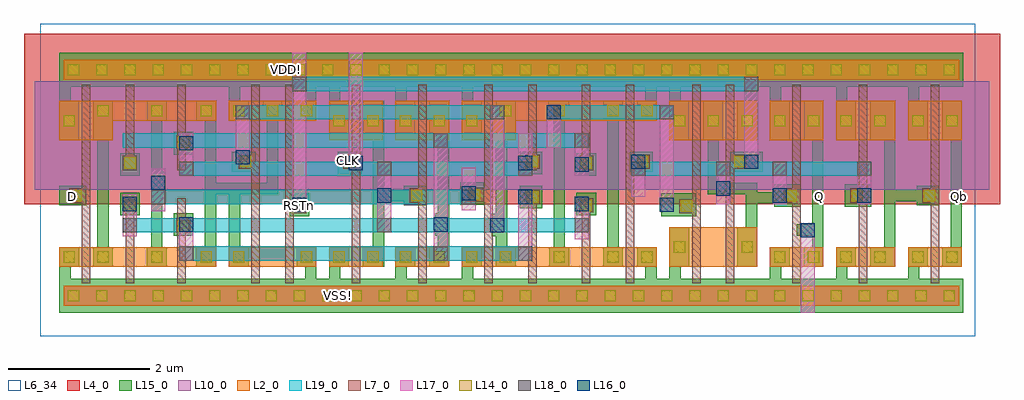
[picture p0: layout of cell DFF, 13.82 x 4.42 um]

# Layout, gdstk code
import gdstk
lib = gdstk.Library(unit=1e-6, precision=1e-09)
def R(c, l, rs):  # rectangles x0, y0, x1, y1
    for r in rs: c.add(gdstk.rectangle(r[:2], r[2:], *l))
def A(c, l, x, y, w, h, nx, ny, dx, dy):  # array of equal rectangles
    R(c, l, [(x+i*dx, y+j*dy, x+i*dx+w, y+j*dy+h) for i in range(nx) for j in range(ny)])
L2_0 = (2, 0)
L4_0 = (4, 0)
L6_34 = (6, 34)
L7_0 = (7, 0)
L10_0 = (10, 0)
L14_0 = (14, 0)
L15_0 = (15, 0)
L16_0 = (16, 0)
L17_0 = (17, 0)
L18_0 = (18, 0)
L19_0 = (19, 0)

dff = lib.new_cell('DFF')
A(dff, L2_0, 3.82, 2.2, 0.76, 0.56, 3, 1, 0.94, 0)
R(dff, L2_0, [(0.06,-0.14,12.74,0.14), (0,0.41,2.22,0.69), (2.4,0.41,2.68,0.69), (2.4,0.41,3.64,0.69), (3.36,0.41,3.64,0.69), (3.82,0.41,4.58,0.69), (4.76,0.41,5.52,0.69), (5.7,0.41,8.46,0.69), (8.64,0.41,9.88,0.97), (10.06,0.41,10.82,0.69), (11,0.41,11.84,0.69), (12.02,0.41,12.78,0.69), (2.46,0.47,3.58,0.63), (0,2.2,0.76,2.76), (8.64,2.2,9.88,2.76), (10.06,2.2,10.82,2.76), (10.06,2.2,10.82,2.76), (11,2.2,11.84,2.76), (12.02,2.2,12.78,2.76), (0.76,2.48,2.22,2.76), (2.4,2.48,3.64,2.76), (6.46,2.48,8.46,2.76), (0.06,3.06,12.74,3.34)])
R(dff, L4_0, [(-0.5,1.3,13.32,3.71)])
R(dff, L6_34, [(-0.27,-0.57,12.97,3.85)])
R(dff, L7_0, [(1.66,0.89,1.86,1.09), (3.3,1.17,3.5,1.37), (8.78,1.17,8.98,1.37), (0.9,1.18,1.1,1.38), (7.36,1.18,7.56,1.38), (6.6,1.3,6.8,1.5), (0.14,1.32,0.38,1.52), (4.96,1.32,5.08,1.52), (10.26,1.32,10.38,1.52), (11.2,1.32,11.32,1.52), (12.22,1.32,12.41,1.52), (5.78,1.33,6.08,1.53), (0.9,1.78,1.1,1.98), (7.36,1.78,7.56,1.98), (2.54,1.8,2.74,2), (4.02,1.8,4.14,2), (6.6,1.8,6.8,2), (8.08,1.8,8.36,2), (9.54,1.8,9.74,2), (1.66,2.08,1.86,2.28)])
R(dff, L10_0, [(0.06,-0.14,12.74,0.14), (-0.35,1.5,13.17,3.04)])
A(dff, L14_0, 0.12, -0.08, 0.16, 0.16, 32, 2, 0.4, 3.2)
A(dff, L14_0, 6.24, 0.47, 0.16, 0.16, 3, 2, 0.76, 2.07)
A(dff, L14_0, 8.7, 2.4, 0.16, 0.16, 3, 1, 0.48, 0)
A(dff, L14_0, 2.46, 2.54, 0.16, 0.16, 3, 1, 0.48, 0)
R(dff, L14_0, [(0.06,0.47,0.22,0.63), (0.54,0.47,0.7,0.63), (1.3,0.47,1.46,0.63), (2,0.47,2.16,0.63), (2.46,0.47,2.62,0.63), (3.42,0.47,3.58,0.63), (3.88,0.47,4.04,0.63), (4.36,0.47,4.52,0.63), (4.82,0.47,4.98,0.63), (5.3,0.47,5.46,0.63), (5.76,0.47,5.92,0.63), (8.24,0.47,8.4,0.63), (10.12,0.47,10.28,0.63), (10.6,0.47,10.76,0.63), (11.06,0.47,11.22,0.63), (11.54,0.47,11.7,0.63), (12.08,0.47,12.24,0.63), (12.56,0.47,12.72,0.63), (8.7,0.61,8.86,0.77), (9.66,0.61,9.82,0.77), (1.68,0.91,1.84,1.07), (3.32,1.19,3.48,1.35), (8.8,1.19,8.96,1.35), (0.92,1.2,1.08,1.36), (7.38,1.2,7.54,1.36), (6.62,1.32,6.78,1.48), (0.16,1.34,0.32,1.5), (4.98,1.34,5.14,1.5), (10.28,1.34,10.44,1.5), (11.22,1.34,11.38,1.5), (12.24,1.34,12.4,1.5), (5.8,1.35,5.96,1.51), (0.92,1.8,1.08,1.96), (7.38,1.8,7.54,1.96), (2.56,1.82,2.72,1.98), (4.04,1.82,4.2,1.98), (6.62,1.82,6.78,1.98), (8.18,1.82,8.34,1.98), (9.56,1.82,9.72,1.98), (1.68,2.1,1.84,2.26), (0.06,2.4,0.22,2.56), (3.88,2.4,4.04,2.56), (4.36,2.4,4.52,2.56), (4.82,2.4,4.98,2.56), (5.3,2.4,5.46,2.56), (5.76,2.4,5.92,2.56), (10.12,2.4,10.28,2.56), (10.6,2.4,10.76,2.56), (11.06,2.4,11.22,2.56), (11.54,2.4,11.7,2.56), (12.08,2.4,12.24,2.56), (12.56,2.4,12.72,2.56), (0.54,2.54,0.7,2.7), (1.3,2.54,1.46,2.7), (2,2.54,2.16,2.7), (8.24,2.54,8.4,2.7)])
A(dff, L15_0, 6.18, 0.41, 0.28, 0.28, 3, 1, 0.76, 0)
A(dff, L15_0, 8.64, 2.2, 0.28, 0.56, 3, 1, 0.48, 0)
A(dff, L15_0, 2.4, 2.48, 0.28, 0.28, 3, 1, 0.48, 0)
R(dff, L15_0, [(0,-0.24,12.8,0.24), (0,0.41,0.28,0.69), (0.48,0.41,0.76,0.69), (1.24,0.41,1.52,0.69), (1.94,0.41,2.22,0.69), (2.4,0.41,2.68,0.69), (3.36,0.41,3.64,0.69), (3.82,0.41,4.1,0.69), (4.3,0.41,4.58,0.69), (4.76,0.41,5.04,0.69), (5.24,0.41,5.52,0.69), (5.7,0.41,5.98,0.69), (8.18,0.41,8.46,0.69), (8.64,0.41,8.92,0.97), (9.6,0.41,9.88,0.97), (10.06,0.41,10.34,0.69), (10.54,0.41,10.82,0.69), (11,0.41,11.28,0.69), (11.48,0.41,11.76,0.69), (12.02,0.41,12.3,0.69), (12.5,0.41,12.78,0.69), (6.18,0.69,6.22,0.84), (6.12,0.84,6.22,1.16), (1.62,0.85,1.9,1.17), (5.32,0.85,5.37,1.17), (10.44,0.85,10.82,1.01), (3.26,1.13,3.54,1.45), (8.52,1.13,9.02,1.45), (0.86,1.14,1.14,1.46), (7.32,1.14,7.6,1.46), (6.52,1.24,6.84,1.56), (10.12,1.26,10.5,1.58), (11.12,1.26,11.5,1.58), (0,1.28,0.38,1.56), (4.88,1.28,5.2,1.56), (12.14,1.28,12.46,1.56), (5.68,1.29,6.02,1.61), (1.46,1.44,1.48,1.76), (0.86,1.7,1.14,2.02), (7.32,1.7,7.6,2.02), (3.94,1.72,4.28,2.04), (6.52,1.72,6.84,2.04), (2.44,1.76,2.78,2.04), (8.08,1.76,8.4,2.04), (9.5,1.76,9.96,2.04), (1.62,2,1.9,2.32), (0,2.2,0.28,2.76), (0.48,2.2,0.76,2.76), (3.82,2.2,4.1,2.76), (4.3,2.2,4.58,2.76), (4.76,2.2,5.04,2.76), (5.24,2.2,5.52,2.76), (5.7,2.2,5.98,2.76), (6.18,2.2,6.46,2.76), (10.06,2.2,10.34,2.76), (10.54,2.2,10.82,2.76), (11,2.2,11.28,2.76), (11.48,2.2,11.76,2.76), (12.02,2.2,12.3,2.76), (12.5,2.2,12.78,2.76), (1.24,2.48,1.52,2.76), (1.94,2.48,2.22,2.76), (6.92,2.48,7.22,2.76), (7.7,2.48,7.98,2.76), (8.18,2.48,8.46,2.76), (0,2.96,12.8,3.44)])
R(dff, L16_0, [(10.5,0.83,10.7,1.03), (6.1,0.9,6.3,1.1), (1.7,0.91,1.9,1.11), (5.3,0.91,5.5,1.11), (3.3,1.19,3.5,1.39), (8.5,1.19,8.7,1.39), (0.9,1.2,1.1,1.4), (7.3,1.2,7.5,1.4), (6.5,1.3,6.7,1.5), (4.5,1.32,4.7,1.52), (10.1,1.32,10.3,1.52), (11.3,1.32,11.5,1.52), (5.7,1.35,5.9,1.55), (9.3,1.42,9.5,1.62), (1.3,1.5,1.5,1.7), (7.3,1.76,7.5,1.96), (4.1,1.78,4.3,1.98), (6.5,1.78,6.7,1.98), (8.1,1.8,8.3,2), (9.7,1.8,9.9,2), (2.5,1.86,2.7,2.06), (1.7,2.06,1.9,2.26), (6.9,2.5,7.1,2.7)])
R(dff, L18_0, [(1.7,0.5,1.9,0.7), (5.3,0.5,5.5,0.7), (6.5,0.5,6.7,0.7), (0.9,0.9,1.1,1.1), (4.5,0.9,4.7,1.1), (7.3,0.9,7.5,1.1), (1.3,1.3,1.5,1.5), (5.7,1.3,5.9,1.5), (1.7,1.7,1.9,1.9), (4.5,1.7,4.7,1.9), (6.5,1.7,6.7,1.9), (8.1,1.7,8.3,1.9), (9.3,1.7,9.5,1.9), (10.1,1.7,10.3,1.9), (11.3,1.7,11.5,1.9), (5.3,2.1,5.5,2.3), (7.3,2.1,7.5,2.3), (2.5,2.5,2.7,2.7), (6.1,2.5,6.3,2.7), (6.9,2.5,7.1,2.7), (8.5,2.5,8.7,2.7), (3.3,2.9,3.5,3.1), (9.7,2.9,9.9,3.1)])
dff.add(gdstk.FlexPath([(12.62,1.4),(12.8,1.4)], 0.16, ends="flush", simple_path=True, layer=15, datatype=0))  # L15_0
dff.add(gdstk.FlexPath([(9.8,1.39),(10.17,1.39)], 0.16, ends="flush", simple_path=True, layer=15, datatype=0))  # L15_0
dff.add(gdstk.FlexPath([(12.7,2.76),(12.7,0.41)], 0.16, ends="flush", simple_path=True, layer=15, datatype=0))  # L15_0
dff.add(gdstk.FlexPath([(11.76,2.76),(11.76,0.41)], 0.16, ends="flush", simple_path=True, layer=15, datatype=0))  # L15_0
dff.add(gdstk.FlexPath([(10.74,2.76),(10.74,0.41)], 0.16, ends="flush", simple_path=True, layer=15, datatype=0))  # L15_0
dff.add(gdstk.FlexPath([(9.26,2.76),(9.26,1.52),(9.8,1.52),(9.8,0.41)], 0.16, ends="flush", simple_path=True, layer=15, datatype=0))  # L15_0
dff.add(gdstk.FlexPath([(4.44,1.42),(5.18,1.42)], 0.16, ends="flush", simple_path=True, layer=15, datatype=0))  # L15_0
dff.add(gdstk.FlexPath([(4.84,2.2),(4.84,3.44)], 0.16, ends="flush", simple_path=True, layer=15, datatype=0))  # L15_0
dff.add(gdstk.FlexPath([(4.84,0.69),(4.84,-0.24)], 0.16, ends="flush", simple_path=True, layer=15, datatype=0))  # L15_0
dff.add(gdstk.FlexPath([(5.44,2.76),(5.44,0.41)], 0.16, ends="flush", simple_path=True, layer=15, datatype=0))  # L15_0
dff.add(gdstk.FlexPath([(4.52,2.76),(4.52,0.41)], 0.16, ends="flush", simple_path=True, layer=15, datatype=0))  # L15_0
dff.add(gdstk.FlexPath([(10.14,0.69),(10.14,-0.24)], 0.16, ends="flush", simple_path=True, layer=15, datatype=0))  # L15_0
dff.add(gdstk.FlexPath([(7.84,2.76),(7.84,0.41)], 0.16, ends="flush", simple_path=True, layer=15, datatype=0))  # L15_0
dff.add(gdstk.FlexPath([(5.78,0.69),(5.78,-0.24)], 0.16, ends="flush", simple_path=True, layer=15, datatype=0))  # L15_0
dff.add(gdstk.FlexPath([(8.38,2.48),(8.38,3.44)], 0.16, ends="flush", simple_path=True, layer=15, datatype=0))  # L15_0
dff.add(gdstk.FlexPath([(8.38,0.69),(8.38,-0.24)], 0.16, ends="flush", simple_path=True, layer=15, datatype=0))  # L15_0
dff.add(gdstk.FlexPath([(3.9,0.69),(3.9,-0.24)], 0.16, ends="flush", simple_path=True, layer=15, datatype=0))  # L15_0
dff.add(gdstk.FlexPath([(5.78,2.2),(5.78,3.44)], 0.16, ends="flush", simple_path=True, layer=15, datatype=0))  # L15_0
dff.add(gdstk.FlexPath([(3.9,2.2),(3.9,3.44)], 0.16, ends="flush", simple_path=True, layer=15, datatype=0))  # L15_0
dff.add(gdstk.FlexPath([(7.08,2.76),(7.08,0.41)], 0.16, ends="flush", simple_path=True, layer=15, datatype=0))  # L15_0
dff.add(gdstk.FlexPath([(6.26,2.76),(6.26,0.41)], 0.16, ends="flush", simple_path=True, layer=15, datatype=0))  # L15_0
dff.add(gdstk.FlexPath([(11.08,0.69),(11.08,-0.24)], 0.16, ends="flush", simple_path=True, layer=15, datatype=0))  # L15_0
dff.add(gdstk.FlexPath([(8.72,0.97),(8.72,-0.24)], 0.16, ends="flush", simple_path=True, layer=15, datatype=0))  # L15_0
dff.add(gdstk.FlexPath([(11.68,1.42),(12.36,1.42)], 0.16, ends="flush", simple_path=True, layer=15, datatype=0))  # L15_0
dff.add(gdstk.FlexPath([(9.8,2.2),(9.8,3.44)], 0.16, ends="flush", simple_path=True, layer=15, datatype=0))  # L15_0
dff.add(gdstk.FlexPath([(8.72,2.2),(8.72,3.44)], 0.16, ends="flush", simple_path=True, layer=15, datatype=0))  # L15_0
dff.add(gdstk.FlexPath([(0.62,2.76),(0.62,0.41)], 0.16, ends="flush", simple_path=True, layer=15, datatype=0))  # L15_0
dff.add(gdstk.FlexPath([(10.14,2.2),(10.14,3.44)], 0.16, ends="flush", simple_path=True, layer=15, datatype=0))  # L15_0
dff.add(gdstk.FlexPath([(11.08,2.2),(11.08,3.44)], 0.16, ends="flush", simple_path=True, layer=15, datatype=0))  # L15_0
dff.add(gdstk.FlexPath([(12.1,0.69),(12.1,-0.24)], 0.16, ends="flush", simple_path=True, layer=15, datatype=0))  # L15_0
dff.add(gdstk.FlexPath([(12.1,2.2),(12.1,3.44)], 0.16, ends="flush", simple_path=True, layer=15, datatype=0))  # L15_0
dff.add(gdstk.FlexPath([(0.08,0.69),(0.08,-0.24)], 0.16, ends="flush", simple_path=True, layer=15, datatype=0))  # L15_0
dff.add(gdstk.FlexPath([(2.14,2.76),(2.14,0.41)], 0.16, ends="flush", simple_path=True, layer=15, datatype=0))  # L15_0
dff.add(gdstk.FlexPath([(2.48,2.48),(2.48,3.44)], 0.16, ends="flush", simple_path=True, layer=15, datatype=0))  # L15_0
dff.add(gdstk.FlexPath([(3.56,2.48),(3.56,3.44)], 0.16, ends="flush", simple_path=True, layer=15, datatype=0))  # L15_0
dff.add(gdstk.FlexPath([(3.02,2.76),(3.02,1.52),(2.48,1.52),(2.48,0.41)], 0.16, ends="flush", simple_path=True, layer=15, datatype=0))  # L15_0
dff.add(gdstk.FlexPath([(3.1,1.52),(2.06,1.52)], 0.16, ends="flush", simple_path=True, layer=15, datatype=0))  # L15_0
dff.add(gdstk.FlexPath([(3.56,0.69),(3.56,-0.24)], 0.16, ends="flush", simple_path=True, layer=15, datatype=0))  # L15_0
dff.add(gdstk.FlexPath([(0.08,3.44),(0.08,2.21)], 0.16, ends="flush", simple_path=True, layer=15, datatype=0))  # L15_0
dff.add(gdstk.FlexPath([(1.38,2.76),(1.38,0.41)], 0.16, ends="flush", simple_path=True, layer=15, datatype=0))  # L15_0
dff.add(gdstk.FlexPath([(12.4,2.99),(12.4,0.18)], 0.12, ends="flush", simple_path=True, layer=7, datatype=0))  # L7_0
dff.add(gdstk.FlexPath([(9.5,2.99),(9.5,0.18)], 0.12, ends="flush", simple_path=True, layer=7, datatype=0))  # L7_0
dff.add(gdstk.FlexPath([(9.02,2.99),(9.02,0.18)], 0.12, ends="flush", simple_path=True, layer=7, datatype=0))  # L7_0
dff.add(gdstk.FlexPath([(10.44,2.99),(10.44,0.18)], 0.12, ends="flush", simple_path=True, layer=7, datatype=0))  # L7_0
dff.add(gdstk.FlexPath([(11.38,2.99),(11.38,0.18)], 0.12, ends="flush", simple_path=True, layer=7, datatype=0))  # L7_0
dff.add(gdstk.FlexPath([(5.14,2.99),(5.14,0.18)], 0.12, ends="flush", simple_path=True, layer=7, datatype=0))  # L7_0
dff.add(gdstk.FlexPath([(4.2,2.99),(4.2,0.18)], 0.12, ends="flush", simple_path=True, layer=7, datatype=0))  # L7_0
dff.add(gdstk.FlexPath([(0.38,2.99),(0.38,0.18)], 0.12, ends="flush", simple_path=True, layer=7, datatype=0))  # L7_0
dff.add(gdstk.FlexPath([(8.08,2.99),(8.08,0.18)], 0.12, ends="flush", simple_path=True, layer=7, datatype=0))  # L7_0
dff.add(gdstk.FlexPath([(7.46,0.18),(7.46,1.38)], 0.12, ends="flush", simple_path=True, layer=7, datatype=0))  # L7_0
dff.add(gdstk.FlexPath([(7.46,1.78),(7.46,2.99)], 0.12, ends="flush", simple_path=True, layer=7, datatype=0))  # L7_0
dff.add(gdstk.FlexPath([(6.7,0.18),(6.7,1.38)], 0.12, ends="flush", simple_path=True, layer=7, datatype=0))  # L7_0
dff.add(gdstk.FlexPath([(6.7,1.78),(6.7,2.99)], 0.12, ends="flush", simple_path=True, layer=7, datatype=0))  # L7_0
dff.add(gdstk.FlexPath([(6.08,2.99),(6.08,0.18)], 0.12, ends="flush", simple_path=True, layer=7, datatype=0))  # L7_0
dff.add(gdstk.FlexPath([(0.38,2.99),(0.38,0.18)], 0.12, ends="flush", simple_path=True, layer=7, datatype=0))  # L7_0
dff.add(gdstk.FlexPath([(1,0.18),(1,1.38)], 0.12, ends="flush", simple_path=True, layer=7, datatype=0))  # L7_0
dff.add(gdstk.FlexPath([(3.26,2.99),(3.26,0.18)], 0.12, ends="flush", simple_path=True, layer=7, datatype=0))  # L7_0
dff.add(gdstk.FlexPath([(1.73,0.18),(1.73,1.38)], 0.12, ends="flush", simple_path=True, layer=7, datatype=0))  # L7_0
dff.add(gdstk.FlexPath([(1,1.78),(1,2.99)], 0.12, ends="flush", simple_path=True, layer=7, datatype=0))  # L7_0
dff.add(gdstk.FlexPath([(2.78,2.99),(2.78,0.18)], 0.12, ends="flush", simple_path=True, layer=7, datatype=0))  # L7_0
dff.add(gdstk.FlexPath([(1.73,1.78),(1.73,2.99)], 0.12, ends="flush", simple_path=True, layer=7, datatype=0))  # L7_0
dff.add(gdstk.FlexPath([(10.6,1.03),(10.6,-0.24)], 0.2, ends="flush", simple_path=True, layer=17, datatype=0))  # L17_0
dff.add(gdstk.FlexPath([(4.2,1.78),(4.2,3.44)], 0.2, ends="flush", simple_path=True, layer=17, datatype=0))  # L17_0
dff.add(gdstk.FlexPath([(9.8,3.1),(9.8,1.8)], 0.2, ends="flush", simple_path=True, layer=17, datatype=0))  # L17_0
dff.add(gdstk.FlexPath([(3.4,1.19),(3.4,3.44)], 0.2, ends="flush", simple_path=True, layer=17, datatype=0))  # L17_0
dff.add(gdstk.FlexPath([(10.2,1.9),(10.2,1.3)], 0.2, ends="flush", simple_path=True, layer=17, datatype=0))  # L17_0
dff.add(gdstk.FlexPath([(11.4,1.9),(11.4,1.3)], 0.2, ends="flush", simple_path=True, layer=17, datatype=0))  # L17_0
dff.add(gdstk.FlexPath([(8.2,1.4),(8.2,2)], 0.2, ends="flush", simple_path=True, layer=17, datatype=0))  # L17_0
dff.add(gdstk.FlexPath([(9.4,1.3),(9.4,1.9)], 0.2, ends="flush", simple_path=True, layer=17, datatype=0))  # L17_0
dff.add(gdstk.FlexPath([(8.6,2.7),(8.6,1.19)], 0.2, ends="flush", simple_path=True, layer=17, datatype=0))  # L17_0
dff.add(gdstk.FlexPath([(7,2.7),(7,2.1)], 0.2, ends="flush", simple_path=True, layer=17, datatype=0))  # L17_0
dff.add(gdstk.FlexPath([(6.2,0.9),(6.2,2.7)], 0.2, ends="flush", simple_path=True, layer=17, datatype=0))  # L17_0
dff.add(gdstk.FlexPath([(2.6,1.86),(2.6,2.7)], 0.2, ends="flush", simple_path=True, layer=17, datatype=0))  # L17_0
dff.add(gdstk.FlexPath([(7.4,1.7),(7.4,2.3)], 0.2, ends="flush", simple_path=True, layer=17, datatype=0))  # L17_0
dff.add(gdstk.FlexPath([(6.6,1.7),(6.6,2.3)], 0.2, ends="flush", simple_path=True, layer=17, datatype=0))  # L17_0
dff.add(gdstk.FlexPath([(7.4,1.4),(7.4,0.8)], 0.2, ends="flush", simple_path=True, layer=17, datatype=0))  # L17_0
dff.add(gdstk.FlexPath([(6.6,1.5),(6.6,0.5)], 0.2, ends="flush", simple_path=True, layer=17, datatype=0))  # L17_0
dff.add(gdstk.FlexPath([(5.8,1.21),(5.8,1.81)], 0.2, ends="flush", simple_path=True, layer=17, datatype=0))  # L17_0
dff.add(gdstk.FlexPath([(1.4,1.2),(1.4,1.8)], 0.2, ends="flush", simple_path=True, layer=17, datatype=0))  # L17_0
dff.add(gdstk.FlexPath([(1,0.84),(1,1.44)], 0.2, ends="flush", simple_path=True, layer=17, datatype=0))  # L17_0
dff.add(gdstk.FlexPath([(1.8,0.5),(1.8,1.11)], 0.2, ends="flush", simple_path=True, layer=17, datatype=0))  # L17_0
dff.add(gdstk.FlexPath([(5.4,2.3),(5.4,0.5)], 0.2, ends="flush", simple_path=True, layer=17, datatype=0))  # L17_0
dff.add(gdstk.FlexPath([(1.8,1.7),(1.8,2.3)], 0.2, ends="flush", simple_path=True, layer=17, datatype=0))  # L17_0
dff.add(gdstk.FlexPath([(4.6,1.9),(4.6,0.9)], 0.2, ends="flush", simple_path=True, layer=17, datatype=0))  # L17_0
dff.add(gdstk.FlexPath([(3.3,3),(9.9,3)], 0.2, ends="flush", simple_path=True, layer=19, datatype=0))  # L19_0
dff.add(gdstk.FlexPath([(8.1,1.8),(11.5,1.8)], 0.2, ends="flush", simple_path=True, layer=19, datatype=0))  # L19_0
dff.add(gdstk.FlexPath([(6.9,2.6),(8.7,2.6)], 0.2, ends="flush", simple_path=True, layer=19, datatype=0))  # L19_0
dff.add(gdstk.FlexPath([(2.5,2.6),(6.3,2.6)], 0.2, ends="flush", simple_path=True, layer=19, datatype=0))  # L19_0
dff.add(gdstk.FlexPath([(1.3,1.4),(5.9,1.4)], 0.2, ends="flush", simple_path=True, layer=19, datatype=0))  # L19_0
dff.add(gdstk.FlexPath([(7.5,2.2),(0.9,2.2)], 0.2, ends="flush", simple_path=True, layer=19, datatype=0))  # L19_0
dff.add(gdstk.FlexPath([(6.7,0.6),(1.7,0.6)], 0.2, ends="flush", simple_path=True, layer=19, datatype=0))  # L19_0
dff.add(gdstk.FlexPath([(1.7,1.8),(6.7,1.8)], 0.2, ends="flush", simple_path=True, layer=19, datatype=0))  # L19_0
dff.add(gdstk.FlexPath([(7.5,1),(0.9,1)], 0.2, ends="flush", simple_path=True, layer=19, datatype=0))  # L19_0
dff.add(gdstk.Label('Qb', (12.74,1.4), layer=15, texttype=20))
dff.add(gdstk.Label('RSTn', (3.4,1.28), layer=15, texttype=20))
dff.add(gdstk.Label('VSS!', (3.95,0), layer=15, texttype=20))
dff.add(gdstk.Label('VDD!', (3.21,3.2), layer=15, texttype=20))
dff.add(gdstk.Label('Q', (10.76,1.4), layer=15, texttype=20))
dff.add(gdstk.Label('CLK', (4.1,1.91), layer=15, texttype=20))
dff.add(gdstk.Label('D', (0.19,1.4), layer=15, texttype=20))

lib.write_gds('DFF.gds')
